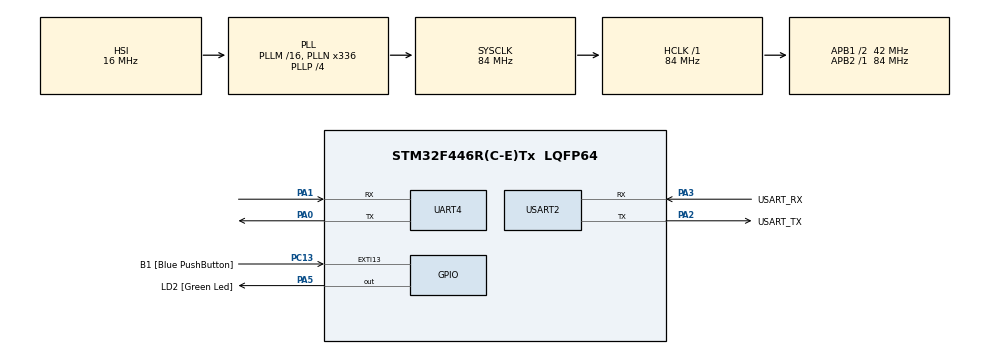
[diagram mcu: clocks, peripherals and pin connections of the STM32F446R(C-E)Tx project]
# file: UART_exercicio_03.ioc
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Mcu.Family=STM32F4
Mcu.Name=STM32F446R(C-E)Tx
Mcu.Package=LQFP64
NVIC.PriorityGroup=NVIC_PRIORITYGROUP_0
PA0-WKUP.Mode=Asynchronous
PA0-WKUP.Signal=UART4_TX
PA1.Mode=Asynchronous
PA1.Signal=UART4_RX
PA13.GPIO_Label=TMS
PA13.Mode=Serial_Wire
PA13.Signal=SYS_JTMS-SWDIO
PA14.GPIO_Label=TCK
PA14.Mode=Serial_Wire
PA14.Signal=SYS_JTCK-SWCLK
PA2.GPIO_Label=USART_TX
PA2.Mode=Asynchronous
PA2.Signal=USART2_TX
PA3.GPIO_Label=USART_RX
PA3.Mode=Asynchronous
PA3.Signal=USART2_RX
PA5.GPIO_Label=LD2 [Green Led]
PA5.Signal=GPIO_Output
PB3.GPIO_Label=SWO
PB3.Signal=SYS_JTDO-SWO
PC13.GPIO_Label=B1 [Blue PushButton]
PC13.GPIO_ModeDefaultEXTI=GPIO_MODE_IT_FALLING
PC13.Signal=GPXTI13
PC14-OSC32_IN.Mode=LSE-External-Oscillator
PC14-OSC32_IN.Signal=RCC_OSC32_IN
PC15-OSC32_OUT.Mode=LSE-External-Oscillator
PC15-OSC32_OUT.Signal=RCC_OSC32_OUT
PH0-OSC_IN.Mode=HSE-External-Oscillator
PH0-OSC_IN.Signal=RCC_OSC_IN
PH1-OSC_OUT.Mode=HSE-External-Oscillator
PH1-OSC_OUT.Signal=RCC_OSC_OUT
ProjectManager.HeapSize=0x200
ProjectManager.StackSize=0x400
ProjectManager.TargetToolchain=STM32CubeIDE
RCC.48MHZClocksFreq_Value=84000000
RCC.AHBFreq_Value=84000000
RCC.APB1CLKDivider=RCC_HCLK_DIV2
RCC.APB1Freq_Value=42000000
RCC.APB1TimFreq_Value=84000000
RCC.APB2Freq_Value=84000000
RCC.APB2TimFreq_Value=84000000
RCC.CortexFreq_Value=84000000
RCC.FLatency-AdvancedSettings=FLASH_LATENCY_2
RCC.HCLKFreq_Value=84000000
RCC.HSE_VALUE=8000000
RCC.HSI_VALUE=16000000
RCC.PLLN=336
RCC.PLLP=RCC_PLLP_DIV4
RCC.SYSCLKFreq_VALUE=84000000
RCC.SYSCLKSource=RCC_SYSCLKSOURCE_PLLCLK
RCC.USBFreq_Value=168000000
RCC.VCOOutputFreq_Value=336000000
UART4.VirtualMode=Asynchronous
USART2.VirtualMode=VM_ASYNC
board=NUCLEO-F446RE

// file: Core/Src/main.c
/* USER CODE BEGIN Header */
/**
  ******************************************************************************
  * @file           : main.c
  * @brief          : Main program body
  ******************************************************************************
  * @attention
  *
  * Copyright (c) 2022 STMicroelectronics.
  * All rights reserved.
  *
  * This software is licensed under terms that can be found in the LICENSE file
  * in the root directory of this software component.
  * If no LICENSE file comes with this software, it is provided AS-IS.
  *
  ******************************************************************************
  */
/* USER CODE END Header */
#include "main.h"

/* USER CODE BEGIN PM */

//#define RAIZ 1

#ifndef RAIZ
	#define NUTELLA 1
#endif
/* USER CODE END PM */

UART_HandleTypeDef huart4;
UART_HandleTypeDef huart2;

/* USER CODE BEGIN PV */
char TX2, RX2, TX4, RX4;
char mensagem[10];
/* USER CODE END PV */

void SystemClock_Config(void);
static void MX_GPIO_Init(void);
static void MX_USART2_UART_Init(void);
static void MX_UART4_Init(void);

int main(void)
{

  /* MCU Configuration--------------------------------------------------------*/

  /* Reset of all peripherals, Initializes the Flash interface and the Systick. */
  HAL_Init();

  /* Configure the system clock */
  SystemClock_Config();

  /* Initialize all configured peripherals */
  MX_GPIO_Init();
  MX_USART2_UART_Init();
  MX_UART4_Init();

  /* Infinite loop */
  while (1)
  {

    /* USER CODE BEGIN 3 */

		//RECEPÇÃO UART 2
		if(__HAL_UART_GET_FLAG(&huart2, UART_FLAG_RXNE))
		{
			HAL_UART_Receive(&huart2, &RX2, 1, 10);
			TX2 = RX2 + 1;

			//TRANSMISSÃO para UART4
			if(__HAL_UART_GET_FLAG(&huart4, UART_FLAG_TXE))
			{
				HAL_UART_Transmit(&huart4, &TX2, 1, 10);
			}
//			TX2 = 0;
//			RX2 = 0;
		}

		//RECEPÇÃO UART 4
		if(__HAL_UART_GET_FLAG(&huart4, UART_FLAG_RXNE))
		{
			HAL_UART_Receive(&huart4, &RX4, 1, 10);
			TX4 = RX4 + 1;

			//TRANSMISSÃO para UART2
			if(__HAL_UART_GET_FLAG(&huart2, UART_FLAG_TXE))
			{
				HAL_UART_Transmit(&huart2, &TX4, 1, 10);
			}
//			TX4 = 0;
//			RX4 = 0;
		}
  }
  /* USER CODE END 3 */
}

void SystemClock_Config(void)
{
  RCC_OscInitTypeDef RCC_OscInitStruct = {0};
  RCC_ClkInitTypeDef RCC_ClkInitStruct = {0};

  /** Configure the main internal regulator output voltage
  */
  __HAL_RCC_PWR_CLK_ENABLE();
  __HAL_PWR_VOLTAGESCALING_CONFIG(PWR_REGULATOR_VOLTAGE_SCALE3);

  /** Initializes the RCC Oscillators according to the specified parameters
  * in the RCC_OscInitTypeDef structure.
  */
  RCC_OscInitStruct.OscillatorType = RCC_OSCILLATORTYPE_HSI;
  RCC_OscInitStruct.HSIState = RCC_HSI_ON;
  RCC_OscInitStruct.HSICalibrationValue = RCC_HSICALIBRATION_DEFAULT;
  RCC_OscInitStruct.PLL.PLLState = RCC_PLL_ON;
  RCC_OscInitStruct.PLL.PLLSource = RCC_PLLSOURCE_HSI;
  RCC_OscInitStruct.PLL.PLLM = 16;
  RCC_OscInitStruct.PLL.PLLN = 336;
  RCC_OscInitStruct.PLL.PLLP = RCC_PLLP_DIV4;
  RCC_OscInitStruct.PLL.PLLQ = 2;
  RCC_OscInitStruct.PLL.PLLR = 2;
  if (HAL_RCC_OscConfig(&RCC_OscInitStruct) != HAL_OK)
  {
    Error_Handler();
  }

  /** Initializes the CPU, AHB and APB buses clocks
  */
  RCC_ClkInitStruct.ClockType = RCC_CLOCKTYPE_HCLK|RCC_CLOCKTYPE_SYSCLK
                              |RCC_CLOCKTYPE_PCLK1|RCC_CLOCKTYPE_PCLK2;
  RCC_ClkInitStruct.SYSCLKSource = RCC_SYSCLKSOURCE_PLLCLK;
  RCC_ClkInitStruct.AHBCLKDivider = RCC_SYSCLK_DIV1;
  RCC_ClkInitStruct.APB1CLKDivider = RCC_HCLK_DIV2;
  RCC_ClkInitStruct.APB2CLKDivider = RCC_HCLK_DIV1;

  if (HAL_RCC_ClockConfig(&RCC_ClkInitStruct, FLASH_LATENCY_2) != HAL_OK)
  {
    Error_Handler();
  }
}

static void MX_UART4_Init(void)
{

  huart4.Instance = UART4;
  huart4.Init.BaudRate = 115200;
  huart4.Init.WordLength = UART_WORDLENGTH_8B;
  huart4.Init.StopBits = UART_STOPBITS_1;
  huart4.Init.Parity = UART_PARITY_NONE;
  huart4.Init.Mode = UART_MODE_TX_RX;
  huart4.Init.HwFlowCtl = UART_HWCONTROL_NONE;
  huart4.Init.OverSampling = UART_OVERSAMPLING_16;
  if (HAL_UART_Init(&huart4) != HAL_OK)
  {
    Error_Handler();
  }

}

static void MX_USART2_UART_Init(void)
{

  huart2.Instance = USART2;
  huart2.Init.BaudRate = 115200;
  huart2.Init.WordLength = UART_WORDLENGTH_8B;
  huart2.Init.StopBits = UART_STOPBITS_1;
  huart2.Init.Parity = UART_PARITY_NONE;
  huart2.Init.Mode = UART_MODE_TX_RX;
  huart2.Init.HwFlowCtl = UART_HWCONTROL_NONE;
  huart2.Init.OverSampling = UART_OVERSAMPLING_16;
  if (HAL_UART_Init(&huart2) != HAL_OK)
  {
    Error_Handler();
  }

}

static void MX_GPIO_Init(void)
{
  GPIO_InitTypeDef GPIO_InitStruct = {0};

  /* GPIO Ports Clock Enable */
  __HAL_RCC_GPIOC_CLK_ENABLE();
  __HAL_RCC_GPIOH_CLK_ENABLE();
  __HAL_RCC_GPIOA_CLK_ENABLE();
  __HAL_RCC_GPIOB_CLK_ENABLE();

  /*Configure GPIO pin Output Level */
  HAL_GPIO_WritePin(LD2_GPIO_Port, LD2_Pin, GPIO_PIN_RESET);

  /*Configure GPIO pin : B1_Pin */
  GPIO_InitStruct.Pin = B1_Pin;
  GPIO_InitStruct.Mode = GPIO_MODE_IT_FALLING;
  GPIO_InitStruct.Pull = GPIO_NOPULL;
  HAL_GPIO_Init(B1_GPIO_Port, &GPIO_InitStruct);

  /*Configure GPIO pin : LD2_Pin */
  GPIO_InitStruct.Pin = LD2_Pin;
  GPIO_InitStruct.Mode = GPIO_MODE_OUTPUT_PP;
  GPIO_InitStruct.Pull = GPIO_NOPULL;
  GPIO_InitStruct.Speed = GPIO_SPEED_FREQ_LOW;
  HAL_GPIO_Init(LD2_GPIO_Port, &GPIO_InitStruct);

}

void Error_Handler(void)
{
  __disable_irq();
  while (1)
  {
  }
}
